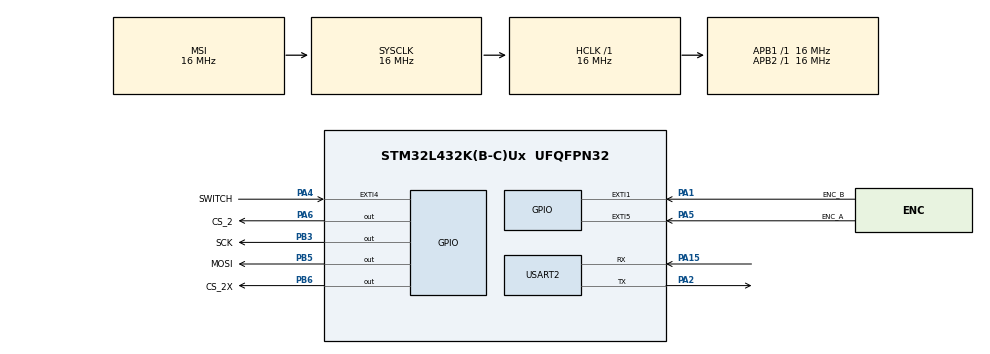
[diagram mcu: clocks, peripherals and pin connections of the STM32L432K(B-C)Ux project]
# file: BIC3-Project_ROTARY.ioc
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Mcu.Family=STM32L4
Mcu.Name=STM32L432K(B-C)Ux
Mcu.Package=UFQFPN32
NVIC.EXTI1_IRQn=true\:0\:0\:false\:false\:true\:true\:true\:true
NVIC.EXTI4_IRQn=true\:0\:0\:false\:false\:true\:true\:true\:true
NVIC.EXTI9_5_IRQn=true\:0\:0\:false\:false\:true\:true\:true\:true
NVIC.PriorityGroup=NVIC_PRIORITYGROUP_4
NVIC.USART2_IRQn=true\:0\:0\:false\:false\:true\:true\:true\:true
PA1.GPIO_Label=ENC_B
PA1.GPIO_ModeDefaultEXTI=GPIO_MODE_IT_RISING_FALLING
PA1.GPIO_PuPd=GPIO_PULLDOWN
PA1.Signal=GPXTI1
PA15\ (JTDI).Mode=Asynchronous
PA15\ (JTDI).Signal=USART2_RX
PA2.Mode=Asynchronous
PA2.Signal=USART2_TX
PA4.GPIO_Label=SWITCH
PA4.GPIO_PuPd=GPIO_PULLDOWN
PA4.Signal=GPXTI4
PA5.GPIO_Label=ENC_A
PA5.GPIO_ModeDefaultEXTI=GPIO_MODE_IT_RISING_FALLING
PA5.GPIO_PuPd=GPIO_PULLDOWN
PA5.Signal=GPXTI5
PA6.GPIO_Label=CS_2
PA6.Signal=GPIO_Output
PB3\ (JTDO-TRACESWO).GPIO_Label=SCK
PB3\ (JTDO-TRACESWO).Signal=GPIO_Output
PB5.GPIO_Label=MOSI
PB5.Signal=GPIO_Output
PB6.GPIO_Label=CS_2X
PB6.Signal=GPIO_Output
ProjectManager.HeapSize=0x200
ProjectManager.StackSize=0x400
ProjectManager.TargetToolchain=STM32CubeIDE
RCC.ADCFreq_Value=64000000
RCC.AHBFreq_Value=16000000
RCC.APB1Freq_Value=16000000
RCC.APB1TimFreq_Value=16000000
RCC.APB2Freq_Value=16000000
RCC.APB2TimFreq_Value=16000000
RCC.CortexFreq_Value=16000000
RCC.HCLKFreq_Value=16000000
RCC.HSE_VALUE=8000000
RCC.HSI48_VALUE=48000000
RCC.HSI_VALUE=16000000
RCC.LSE_VALUE=32768
RCC.MSIClockRange=RCC_MSIRANGE_8
RCC.MSI_VALUE=16000000
RCC.SYSCLKFreq_VALUE=16000000
RCC.USBFreq_Value=64000000
RCC.VCOOutputFreq_Value=128000000
TIM6.Period=65536-1
TIM6.Prescaler=16-1
USART2.VirtualMode-Asynchronous=VM_ASYNC
VP_TIM6_VS_ClockSourceINT.Mode=Enable_Timer
board=custom

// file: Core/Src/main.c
/* USER CODE BEGIN Header */
/**
  ******************************************************************************
  * @file           : main.c
  * @brief          : Main program body
  ******************************************************************************
  * @attention
  *
  * <h2><center>&copy; Copyright (c) 2022 STMicroelectronics.
  * All rights reserved.</center></h2>
  *
  * This software component is licensed by ST under BSD 3-Clause license,
  * the "License"; You may not use this file except in compliance with the
  * License. You may obtain a copy of the License at:
  *                        opensource.org/licenses/BSD-3-Clause
  *
  ******************************************************************************
  */
/* USER CODE END Header */
#include "main.h"

/* USER CODE BEGIN Includes */
#include "mylibrary.h"
/* USER CODE END Includes */

/* USER CODE BEGIN PD */

//#define BRIGHTNESSTEST

#define RxBuffer_SIZE 1
/* USER CODE END PD */

 TIM_HandleTypeDef htim6;

UART_HandleTypeDef huart2;

/* USER CODE BEGIN PV */
MY_ROTARY_HandleTypeDef hrot1;
SERIALPROTOCOL_TypeDef hserialprot;

uint32_t debounce_time_start = 10;
uint8_t buttonclicks=0;

uint16_t last_volume=0;
uint16_t mute_volume=8;
uint16_t rotary_volume=0;
uint16_t rotary_volume_local=0;

uint8_t seperate = 0;

uint16_t ring_rotation_led[2]={0b1100110011001100,
					0b0011001100110011

};

// Deklarieren und initialisieren des Ein-Zeichen-Empfangsbuffers
uint8_t RxBuffer[RxBuffer_SIZE]={0};

/* USER CODE END PV */

void SystemClock_Config(void);
static void MX_GPIO_Init(void);
static void MX_USART2_UART_Init(void);
static void MX_TIM6_Init(void);

int main(void)
{

  /* MCU Configuration--------------------------------------------------------*/

  /* Reset of all peripherals, Initializes the Flash interface and the Systick. */
  HAL_Init();

  /* Configure the system clock */
  SystemClock_Config();

  /* Initialize all configured peripherals */
  MX_GPIO_Init();
  MX_USART2_UART_Init();
  MX_TIM6_Init();
  /* USER CODE BEGIN 2 */

  HAL_UART_Receive_IT(&huart2, RxBuffer, RxBuffer_SIZE);
#ifndef BRIGHTNESSTEST
  MY_ROTARY_Init_Strobed(&hrot1,&htim6,MOSI_GPIO_Port, MOSI_Pin, SCK_GPIO_Port, SCK_Pin, CS_2_GPIO_Port, CS_2_Pin,ENC_A_GPIO_Port,ENC_A_Pin,ENC_B_GPIO_Port,ENC_B_Pin,SWITCH_GPIO_Port,SWITCH_Pin);
#endif
#ifdef BRIGHTNESSTEST
  MY_ROTARY_Init_Strobed(&hrot1,&htim6,MOSI_GPIO_Port, MOSI_Pin, SCK_GPIO_Port, SCK_Pin, CS_2_GPIO_Port, CS_2_Pin,ENC_A_GPIO_Port,ENC_A_Pin,ENC_B_GPIO_Port,ENC_B_Pin,SWITCH_GPIO_Port,SWITCH_Pin);

  uint16_t rotaty_bits=0b1111111111111111;
  uint8_t rotaty_brightness_collection[16]={1,7,13,19,25,31,37,43,49,55,61,67,73,79,85,91};
#endif

  /* Helligkeit aufgrund der Lautstärke ändern */
    uint8_t * calculate_rotary_brightness(uint16_t pos){
  	  static uint8_t rotaty_brightness[16]={0};
  	  for(uint8_t i=0; i<16;i++){
  		rotaty_brightness[i]=(pos/8)*10;
  	  }
  	return rotaty_brightness;
    }

  /* USER CODE END 2 */

  /* Infinite loop */
  /* USER CODE BEGIN WHILE */
  while (1)
  {

#ifndef BRIGHTNESSTEST
	/* kalkulierte LED's des Encoders Ein- bzw. Ausschalten und die Helligkeit einstellen  */
	MY_ROTARY_SET_LEDS(&hrot1, ring_rotation_led[rotary_volume%2], calculate_rotary_brightness(rotary_volume));
#endif
#ifdef BRIGHTNESSTEST
	MY_ROTARY_SET_LEDS(&hrot1, rotaty_bits, rotaty_brightness_collection);
#endif

    /* USER CODE END WHILE */

  }
}

void SystemClock_Config(void)
{
  RCC_OscInitTypeDef RCC_OscInitStruct = {0};
  RCC_ClkInitTypeDef RCC_ClkInitStruct = {0};

  /** Configure the main internal regulator output voltage
  */
  if (HAL_PWREx_ControlVoltageScaling(PWR_REGULATOR_VOLTAGE_SCALE1) != HAL_OK)
  {
    Error_Handler();
  }

  /** Initializes the RCC Oscillators according to the specified parameters
  * in the RCC_OscInitTypeDef structure.
  */
  RCC_OscInitStruct.OscillatorType = RCC_OSCILLATORTYPE_MSI;
  RCC_OscInitStruct.MSIState = RCC_MSI_ON;
  RCC_OscInitStruct.MSICalibrationValue = 0;
  RCC_OscInitStruct.MSIClockRange = RCC_MSIRANGE_8;
  RCC_OscInitStruct.PLL.PLLState = RCC_PLL_NONE;
  if (HAL_RCC_OscConfig(&RCC_OscInitStruct) != HAL_OK)
  {
    Error_Handler();
  }

  /** Initializes the CPU, AHB and APB buses clocks
  */
  RCC_ClkInitStruct.ClockType = RCC_CLOCKTYPE_HCLK|RCC_CLOCKTYPE_SYSCLK
                              |RCC_CLOCKTYPE_PCLK1|RCC_CLOCKTYPE_PCLK2;
  RCC_ClkInitStruct.SYSCLKSource = RCC_SYSCLKSOURCE_MSI;
  RCC_ClkInitStruct.AHBCLKDivider = RCC_SYSCLK_DIV1;
  RCC_ClkInitStruct.APB1CLKDivider = RCC_HCLK_DIV1;
  RCC_ClkInitStruct.APB2CLKDivider = RCC_HCLK_DIV1;

  if (HAL_RCC_ClockConfig(&RCC_ClkInitStruct, FLASH_LATENCY_0) != HAL_OK)
  {
    Error_Handler();
  }
}

static void MX_TIM6_Init(void)
{

  TIM_MasterConfigTypeDef sMasterConfig = {0};

  htim6.Instance = TIM6;
  htim6.Init.Prescaler = 16-1;
  htim6.Init.CounterMode = TIM_COUNTERMODE_UP;
  htim6.Init.Period = 65536-1;
  htim6.Init.AutoReloadPreload = TIM_AUTORELOAD_PRELOAD_DISABLE;
  if (HAL_TIM_Base_Init(&htim6) != HAL_OK)
  {
    Error_Handler();
  }
  sMasterConfig.MasterOutputTrigger = TIM_TRGO_RESET;
  sMasterConfig.MasterSlaveMode = TIM_MASTERSLAVEMODE_DISABLE;
  if (HAL_TIMEx_MasterConfigSynchronization(&htim6, &sMasterConfig) != HAL_OK)
  {
    Error_Handler();
  }

}

static void MX_USART2_UART_Init(void)
{

  huart2.Instance = USART2;
  huart2.Init.BaudRate = 115200;
  huart2.Init.WordLength = UART_WORDLENGTH_8B;
  huart2.Init.StopBits = UART_STOPBITS_1;
  huart2.Init.Parity = UART_PARITY_NONE;
  huart2.Init.Mode = UART_MODE_TX_RX;
  huart2.Init.HwFlowCtl = UART_HWCONTROL_NONE;
  huart2.Init.OverSampling = UART_OVERSAMPLING_16;
  huart2.Init.OneBitSampling = UART_ONE_BIT_SAMPLE_DISABLE;
  huart2.AdvancedInit.AdvFeatureInit = UART_ADVFEATURE_NO_INIT;
  if (HAL_UART_Init(&huart2) != HAL_OK)
  {
    Error_Handler();
  }

}

static void MX_GPIO_Init(void)
{
  GPIO_InitTypeDef GPIO_InitStruct = {0};

  /* GPIO Ports Clock Enable */
  __HAL_RCC_GPIOA_CLK_ENABLE();
  __HAL_RCC_GPIOB_CLK_ENABLE();

  /*Configure GPIO pin Output Level */
  HAL_GPIO_WritePin(CS_2_GPIO_Port, CS_2_Pin, GPIO_PIN_RESET);

  /*Configure GPIO pin Output Level */
  HAL_GPIO_WritePin(GPIOB, SCK_Pin|MOSI_Pin|CS_2X_Pin, GPIO_PIN_RESET);

  /*Configure GPIO pins : ENC_B_Pin ENC_A_Pin */
  GPIO_InitStruct.Pin = ENC_B_Pin|ENC_A_Pin;
  GPIO_InitStruct.Mode = GPIO_MODE_IT_RISING_FALLING;
  GPIO_InitStruct.Pull = GPIO_PULLDOWN;
  HAL_GPIO_Init(GPIOA, &GPIO_InitStruct);

  /*Configure GPIO pin : SWITCH_Pin */
  GPIO_InitStruct.Pin = SWITCH_Pin;
  GPIO_InitStruct.Mode = GPIO_MODE_IT_RISING;
  GPIO_InitStruct.Pull = GPIO_PULLDOWN;
  HAL_GPIO_Init(SWITCH_GPIO_Port, &GPIO_InitStruct);

  /*Configure GPIO pin : CS_2_Pin */
  GPIO_InitStruct.Pin = CS_2_Pin;
  GPIO_InitStruct.Mode = GPIO_MODE_OUTPUT_PP;
  GPIO_InitStruct.Pull = GPIO_NOPULL;
  GPIO_InitStruct.Speed = GPIO_SPEED_FREQ_LOW;
  HAL_GPIO_Init(CS_2_GPIO_Port, &GPIO_InitStruct);

  /*Configure GPIO pins : SCK_Pin MOSI_Pin CS_2X_Pin */
  GPIO_InitStruct.Pin = SCK_Pin|MOSI_Pin|CS_2X_Pin;
  GPIO_InitStruct.Mode = GPIO_MODE_OUTPUT_PP;
  GPIO_InitStruct.Pull = GPIO_NOPULL;
  GPIO_InitStruct.Speed = GPIO_SPEED_FREQ_LOW;
  HAL_GPIO_Init(GPIOB, &GPIO_InitStruct);

  /* EXTI interrupt init*/
  HAL_NVIC_SetPriority(EXTI1_IRQn, 0, 0);
  HAL_NVIC_EnableIRQ(EXTI1_IRQn);

  HAL_NVIC_SetPriority(EXTI4_IRQn, 0, 0);
  HAL_NVIC_EnableIRQ(EXTI4_IRQn);

  HAL_NVIC_SetPriority(EXTI9_5_IRQn, 0, 0);
  HAL_NVIC_EnableIRQ(EXTI9_5_IRQn);

}

/* USER CODE BEGIN 4 */
void HAL_GPIO_EXTI_Callback(uint16_t GPIO_Pin)
{
	// Alle Interrupts deaktivieren -> keine Nested-Interrupts
	__disable_irq();

	// Encoder entprellen
	if((HAL_GetTick() - debounce_time_start) > 60)
	{

		// Ermitteln in welche Richtung der Encoder gedreht wurde bzw. ob der Taster gedrückt wurde
		// 1=rechtsdreh; 2= linksdreh; 3=taster gedrückt
		uint8_t event = MY_ROTARY_GetEncoderEvent();

		// Wenn Encoder nach rechts gedreht wurde
		if(event==1){
			debounce_time_start =HAL_GetTick();
			last_volume=rotary_volume;

			// Buttonclicks zurücksetzen
			if(buttonclicks==1){
				buttonclicks=0;
			}

			// Lautstärke erhöhen -> Begrenzung bei 87
			if( rotary_volume <87){
					rotary_volume++;
			}

		// Wenn Encoder nach links gedreht wurde
		}else if(event==2){

			// Zeit des letzten Ereignisses speichern
			debounce_time_start =HAL_GetTick();

			last_volume=rotary_volume;

			// Buttonclicks zurücksetzen
			if(buttonclicks==1){
				buttonclicks=0;
			}

			// Lautstärke verringern -> Begrenzung bei 0
			if( rotary_volume >0){
					rotary_volume--;
			}

		// Wenn Encoder-Taster gedrückt wurde
		}else if(event==3){
			buttonclicks++;

			/* Wenn Rotarybutton 1x geklickt -> MUTE aktivieren -> funktioniert nur wenn die aktuelle Läutstärke höher ist als die Mute-Lautstärke */
			if(buttonclicks==1){
				if(rotary_volume>mute_volume){
					last_volume=rotary_volume;
					rotary_volume=mute_volume;
				}
			}

			/* Wenn Rotarybutton 1x geklickt -> MUTE beenden */
			if(buttonclicks==2){
				rotary_volume=last_volume;
				buttonclicks=0;
			}
		}

	}

	// Alle Interrupts aktivieren
	__enable_irq();
}

/* UART-Callback wird nach jedem Zeichen aufgerufen */
void HAL_UART_RxCpltCallback(UART_HandleTypeDef *huart)
{
	/* Nachrichtenbuffer für die Konsolen-Nachricht */
	uint8_t exchangedMessage[55] ={0};

	/*
	 * MYLIB_SERIALPROT_XCHANGE -> Verarbeitet die eingegebenen Zeichen des UART und gibt das demenstspechende Ergebnis/Nachricht zurück
	 * hserialprot -> Objekt des Seriellen Protokolls
	 * RxBuffer -> Ein-Zeichen-Empfangspuffer
	 * exchangedMessage -> zurückgegebene Nachricht aufgrund der Eingaben von Rx bzw. auf der Konsole
	 * Die Verarbeitung erfolgt in der MyLibrary/mylib_serialprot-Bibliothek
	 */
	MYLIB_SERIALPROT_XCHANGE(&hserialprot,RxBuffer,exchangedMessage);

	/* exchangedMessage an Putty/Konsole senden */
	if(HAL_UART_Transmit(&huart2, exchangedMessage,(uint16_t)strlen(exchangedMessage), 100)!= HAL_OK){Error_Handler();}

	/* UART_Receive Interrupt aktivieren */
	if(HAL_UART_Receive_IT(&huart2, RxBuffer, RxBuffer_SIZE)!= HAL_OK){Error_Handler();}
}

/* Callback für CRG-Commands (Rotary-Get), welche der User selbst definieren kann */
uint16_t SERIALPROT_Command_CRG_Callback(SERIALPROTOCOL_TypeDef *hserialprot)
{
	/* Prüfen ob das Kommando "crg" mit dem Parameter 1 "vol" eingegeben wurde und danach die Lautstärke zurückgeben */
	if(__SERIALPROT_IS_PARAMETER1(hserialprot,"vol")){
		return rotary_volume;
	/* Prüfen ob das Kommando "crg" mit dem Parameter 1 "mva" eingegeben wurde und danach die Mute-Lautstärke zurückgeben */
	}else if(__SERIALPROT_IS_PARAMETER1(hserialprot,"mva")){
		return mute_volume;
	/* Prüfen ob das Kommando "crg" mit dem Parameter 1 "sep" eingegeben wurde und danach den Status zurückgeben ob die Module getrennt sind */
	}else if(__SERIALPROT_IS_PARAMETER1(hserialprot,"sep")){
		return seperate;
	}
	return 0;
}

/* Callback für CRS-Commands (Rotary-Set), welche der User selbst definieren kann */
uint8_t SERIALPROT_Command_CRS_Callback(SERIALPROTOCOL_TypeDef *hserialprot)
{

	/* Prüfen ob das Kommando "crs" mit dem Parameter 1 "vol" eingegeben wurde und danach die Lautstärke nach Parameter 2 ändern */
	if(__SERIALPROT_IS_PARAMETER1(hserialprot,"vol")){
		rotary_volume=atoi(hserialprot->Parameter2);
		last_volume=rotary_volume;
		return 0;

	/* Prüfen ob das Kommando "crs" mit dem Parameter 1 "mva" eingegeben wurde und danach die Mute-Lautstärke nach Parameter 2 ändern */
	}else if(__SERIALPROT_IS_PARAMETER1(hserialprot,"mva")){
		mute_volume=atoi(hserialprot->Parameter2);
		return 0;

		/* Prüfen ob das Kommando "crs" mit dem Parameter 1 "sep" eingegeben wurde und je nach Parameter 2 (0=nicht koppeln/1=koppeln) die Module koppeln oder nicht koppeln */
	}else if(__SERIALPROT_IS_PARAMETER1(hserialprot,"sep")){
		if(__SERIALPROT_IS_PARAMETER2(hserialprot,"1")){
			seperate=1;
		}else if(__SERIALPROT_IS_PARAMETER2(hserialprot,"0")){
			seperate=0;
		}
		return 0;

	/* Prüfen ob das Kommando "crs" mit dem Parameter 1 "vmx" eingegeben wurde und danachdie Maximal-Lautstärke einstellenn */
	}else if(__SERIALPROT_IS_PARAMETER1(hserialprot,"vmx")){
		rotary_volume=87;
		last_volume=rotary_volume;
		return 0;

	/* Prüfen ob das Kommando "crs" mit dem Parameter 1 "mte" eingegeben wurde und je nach Parameter 2 (0=Aus/1=Ein) auf Mute-Lautstärke einstellen */
	}else if(__SERIALPROT_IS_PARAMETER1(hserialprot,"mte")){
		if(__SERIALPROT_IS_PARAMETER2(hserialprot,"1")){
			if(rotary_volume>mute_volume){
				last_volume=rotary_volume;
				rotary_volume=mute_volume;
			}
		}else if(__SERIALPROT_IS_PARAMETER2(hserialprot,"0")){
			rotary_volume=last_volume;
		}
		return 0;
	}
	return 1;
}

/* USER CODE END 4 */

void Error_Handler(void)
{
  __disable_irq();
  while (1)
  {
  }
}
